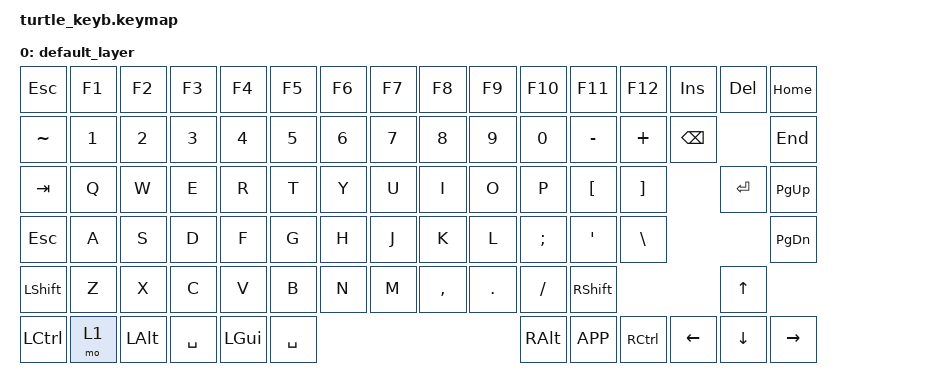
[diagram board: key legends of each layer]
// numpad.keymap
#include <behaviors.dtsi>
#include <dt-bindings/zmk/keys.h>

/ {
    keymap {
        compatible = "zmk,keymap";

        default_layer {
            bindings = <
        &kp ESC     &kp F1   &kp F2  &kp F3  &kp F4  &kp F5  &kp F6  &kp F7  &kp F8    &kp F9   &kp F10       &kp F11          &kp F12    &kp INS   &kp DEL    &kp HOME
        &kp TILDE   &kp N1   &kp N2  &kp N3  &kp N4  &kp N5  &kp N6  &kp N7  &kp N8    &kp N9   &kp N0        &kp MINUS        &kp PLUS     &kp BACKSPACE      &kp END
        &kp TAB     &kp Q    &kp W   &kp E   &kp R   &kp T   &kp Y   &kp U   &kp I     &kp O    &kp P         &kp LEFT_BRACKET &kp RIGHT_BRACKET  &kp ENTER    &kp PG_UP
        &kp ESC     &kp A    &kp S   &kp D   &kp F   &kp G   &kp H   &kp J   &kp K     &kp L    &kp SEMICOLON &kp SINGLE_QUOTE &kp BACKSLASH                   &kp PG_DN
        &kp LSHIFT  &kp Z    &kp X   &kp C   &kp V   &kp B   &kp N   &kp M   &kp COMMA &kp DOT  &kp SLASH     &kp RSHIFT                             &kp UP
        &kp LCTRL   &mo 1    &kp LALT     &kp SPC    &kp LEFT_GUI  &kp SPC   &kp RALT &kp K_APP &kp RCTRL                                  &kp LEFT  &kp DOWN  &kp RIGHT
            >;
        };
    };
};
